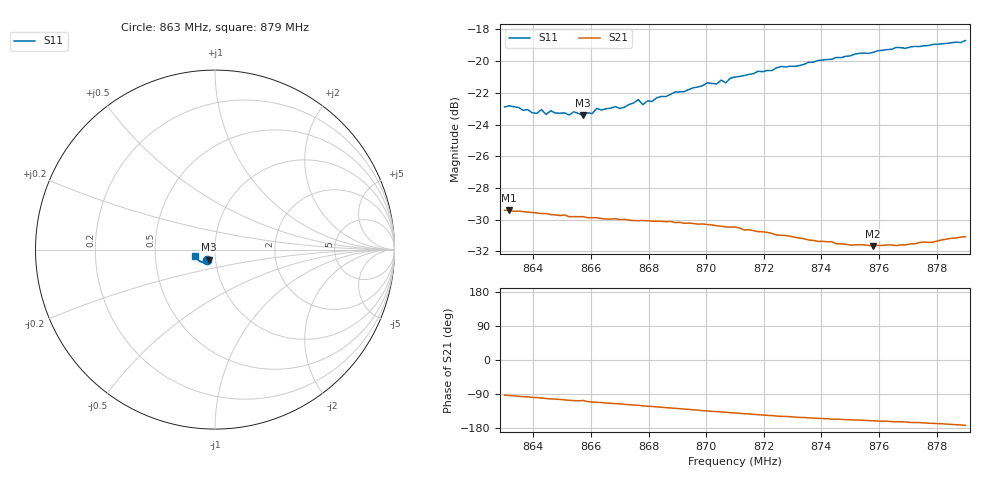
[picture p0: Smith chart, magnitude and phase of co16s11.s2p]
# HZ S RI R 50
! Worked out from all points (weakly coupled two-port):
!   101 points, 863 MHz to 879 MHz, reference 50 ohm
!   highest |S21| = -29.40 dB at 863.16 MHz (marker M1); lowest = -31.7 dB at 875.8 MHz (marker M2)
!   lowest |S11| = -23.4 dB at 865.72 MHz (marker M3), VSWR 1.14, Z = 46.2 - j5.29 ohm
!   |S11| at or under -10 dB: start of sweep to end of sweep
!   S12 and S22 are empty: the file has one direction only
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8.63e8  -0.0448 -0.0559  -0.00157 -0.0338  0 0  0 0
8.6316e8  -0.0449 -0.0566  -0.00213 -0.0338  0 0  0 0
8.6396e8  -0.0403 -0.0556  -0.00498 -0.0329  0 0  0 0
8.6428e8  -0.0414 -0.0568  -0.00589 -0.0325  0 0  0 0
8.6444e8  -0.0397 -0.0551  -0.00664 -0.0324  0 0  0 0
8.646e8  -0.0392 -0.0577  -0.00721 -0.032  0 0  0 0
8.6572e8  -0.0361 -0.0569  -0.00934 -0.0309  0 0  0 0
8.6604e8  -0.0355 -0.0584  -0.0114 -0.03  0 0  0 0
8.662e8  -0.0382 -0.0598  -0.0118 -0.0298  0 0  0 0
8.6716e8  -0.0358 -0.0619  -0.0144 -0.0282  0 0  0 0
8.6764e8  -0.0385 -0.0651  -0.0155 -0.0273  0 0  0 0
8.678e8  -0.0362 -0.0633  -0.0162 -0.0269  0 0  0 0
8.6844e8  -0.0391 -0.0667  -0.0178 -0.0257  0 0  0 0
8.7004e8  -0.0461 -0.0719  -0.0213 -0.0218  0 0  0 0
8.7036e8  -0.0459 -0.0712  -0.0218 -0.021  0 0  0 0
8.7052e8  -0.0478 -0.0729  -0.0221 -0.0205  0 0  0 0
8.7068e8  -0.0473 -0.0712  -0.0222 -0.0201  0 0  0 0
8.71e8  -0.0518 -0.0725  -0.0228 -0.0194  0 0  0 0
8.7372e8  -0.0687 -0.0716  -0.0243 -0.0123  0 0  0 0
8.758e8  -0.0863 -0.0625  -0.0245 -0.00878  0 0  0 0
8.7644e8  -0.0915 -0.0592  -0.0251 -0.00784  0 0  0 0
8.79e8  -0.1103 -0.0367  -0.0277 -0.00369  0 0  0 0
